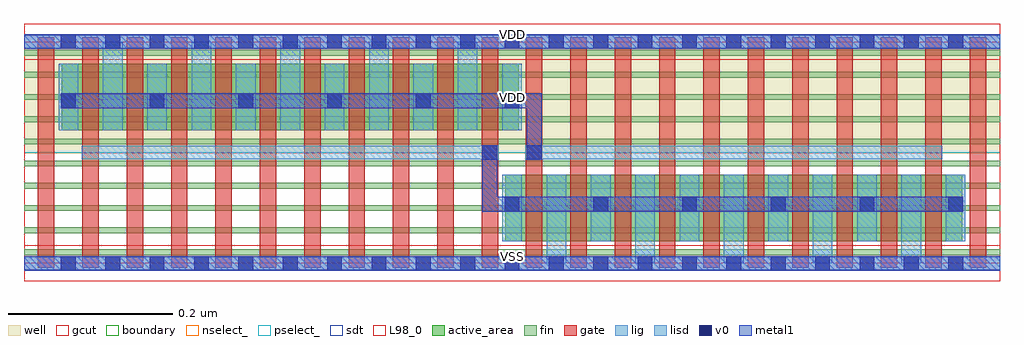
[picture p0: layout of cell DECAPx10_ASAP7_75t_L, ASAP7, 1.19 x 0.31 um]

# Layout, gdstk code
import gdstk
lib = gdstk.Library(unit=1e-6, precision=2.5e-10)
def R(c, l, rs):  # rectangles x0, y0, x1, y1
    for r in rs: c.add(gdstk.rectangle(r[:2], r[2:], *l))
def A(c, l, x, y, w, h, nx, ny, dx, dy):  # array of equal rectangles
    R(c, l, [(x+i*dx, y+j*dy, x+i*dx+w, y+j*dy+h) for i in range(nx) for j in range(ny)])
def P(c, l, *ps):  # polygons
    for p in ps: c.add(gdstk.Polygon(p, *l))
well = (1, 0)
fin = (2, 0)
gate = (7, 0)
gcut = (10, 0)
active_area = (11, 0)
nselect_ = (12, 0)
pselect_ = (13, 0)
lig = (16, 0)
lisd = (17, 0)
v0 = (18, 0)
metal1 = (19, 0)
sdt = (88, 0)
L98_0 = (98, 0)
boundary = (100, 0)

decapx10_asap7_75t_l = lib.new_cell('DECAPx10_ASAP7_75t_L')
R(decapx10_asap7_75t_l, well, [(0,0.135,1.188,0.27)])
A(decapx10_asap7_75t_l, fin, 0, 0.01, 1.188, 0.007, 1, 10, 0, 0.027)
A(decapx10_asap7_75t_l, gate, 0.017, -0.005, 0.02, 0.28, 22, 1, 0.054, 0)
R(decapx10_asap7_75t_l, gcut, [(0,-0.022,1.188,0.022), (0,0.248,1.188,0.292)])
R(decapx10_asap7_75t_l, active_area, [(0.586,0.027,1.142,0.108), (0.046,0.162,0.602,0.243)])
R(decapx10_asap7_75t_l, nselect_, [(0,0,1.188,0.135)])
R(decapx10_asap7_75t_l, pselect_, [(0,0.135,1.188,0.27)])
R(decapx10_asap7_75t_l, lig, [(0,-0.008,1.188,0.008), (0.556,0.126,0.578,0.144), (0.61,0.126,0.632,0.144), (0.07,0.127,0.578,0.143), (0.61,0.127,1.118,0.143), (0,0.262,1.188,0.278)])
A(decapx10_asap7_75t_l, lisd, 0.582, 0.027, 0.024, 0.081, 6, 1, 0.108, 0)
A(decapx10_asap7_75t_l, lisd, 0.042, 0.162, 0.024, 0.081, 6, 1, 0.108, 0)
R(decapx10_asap7_75t_l, lisd, [(0.636,0,0.66,0.108), (0.636,0,0.66,0.108), (0.744,0,0.768,0.108), (0.744,0,0.768,0.108), (0.852,0,0.876,0.108), (0.852,0,0.876,0.108), (0.96,0,0.984,0.108), (0.96,0,0.984,0.108), (1.068,0,1.092,0.108), (1.068,0,1.092,0.108), (0.096,0.162,0.12,0.27), (0.096,0.162,0.12,0.27), (0.204,0.162,0.228,0.27), (0.204,0.162,0.228,0.27), (0.312,0.162,0.336,0.27), (0.312,0.162,0.336,0.27), (0.42,0.162,0.444,0.27), (0.42,0.162,0.444,0.27), (0.528,0.162,0.552,0.27), (0.528,0.162,0.552,0.27)])
A(decapx10_asap7_75t_l, v0, 0.045, -0.009, 0.018, 0.018, 21, 2, 0.054, 0.27)
A(decapx10_asap7_75t_l, v0, 0.585, 0.063, 0.018, 0.018, 6, 1, 0.108, 0)
A(decapx10_asap7_75t_l, v0, 0.045, 0.189, 0.018, 0.018, 6, 1, 0.108, 0)
R(decapx10_asap7_75t_l, v0, [(0.558,0.126,0.576,0.144), (0.612,0.126,0.63,0.144)])
A(decapx10_asap7_75t_l, metal1, 0.585, 0.063, 0.018, 0.018, 6, 1, 0.108, 0)
A(decapx10_asap7_75t_l, metal1, 0.045, 0.189, 0.018, 0.018, 6, 1, 0.108, 0)
R(decapx10_asap7_75t_l, metal1, [(0,-0.009,1.188,0.009), (0.558,0.126,0.576,0.144), (0.612,0.126,0.63,0.144), (0,0.261,1.188,0.279)])
P(decapx10_asap7_75t_l, metal1, [(0.045,0.207),(0.045,0.189),(0.612,0.189),(0.612,0.126),(0.63,0.126),(0.63,0.207)],
  [(0.576,0.144),(0.558,0.144),(0.558,0.063),(1.143,0.063),(1.143,0.081),(0.576,0.081)])
A(decapx10_asap7_75t_l, sdt, 0.636, 0.027, 0.024, 0.081, 3, 1, 0.054, 0)
A(decapx10_asap7_75t_l, sdt, 0.744, 0.027, 0.024, 0.081, 3, 1, 0.054, 0)
A(decapx10_asap7_75t_l, sdt, 0.852, 0.027, 0.024, 0.081, 3, 1, 0.054, 0)
A(decapx10_asap7_75t_l, sdt, 0.96, 0.027, 0.024, 0.081, 3, 1, 0.054, 0)
A(decapx10_asap7_75t_l, sdt, 0.096, 0.162, 0.024, 0.081, 3, 1, 0.054, 0)
A(decapx10_asap7_75t_l, sdt, 0.204, 0.162, 0.024, 0.081, 3, 1, 0.054, 0)
A(decapx10_asap7_75t_l, sdt, 0.312, 0.162, 0.024, 0.081, 3, 1, 0.054, 0)
A(decapx10_asap7_75t_l, sdt, 0.42, 0.162, 0.024, 0.081, 3, 1, 0.054, 0)
R(decapx10_asap7_75t_l, sdt, [(0.582,0.027,0.606,0.108), (0.636,0.027,0.66,0.108), (1.068,0.027,1.092,0.108), (1.122,0.027,1.146,0.108), (0.042,0.162,0.066,0.243), (0.096,0.162,0.12,0.243), (0.528,0.162,0.552,0.243), (0.582,0.162,0.606,0.243)])
R(decapx10_asap7_75t_l, L98_0, [(0,0,1.188,0.27)])
R(decapx10_asap7_75t_l, boundary, [(0,0,1.188,0.27)])
decapx10_asap7_75t_l.add(gdstk.Label('VDD', (0.594,0.2025), layer=1, texttype=251))
decapx10_asap7_75t_l.add(gdstk.Label('VSS', (0.594,-0.0675), layer=3, texttype=251))
decapx10_asap7_75t_l.add(gdstk.Label('VSS', (0.594,0.009), layer=19, texttype=251))
decapx10_asap7_75t_l.add(gdstk.Label('VDD', (0.594,0.279), layer=19, texttype=251))

lib.write_gds('DECAPx10_ASAP7_75t_L.gds')
